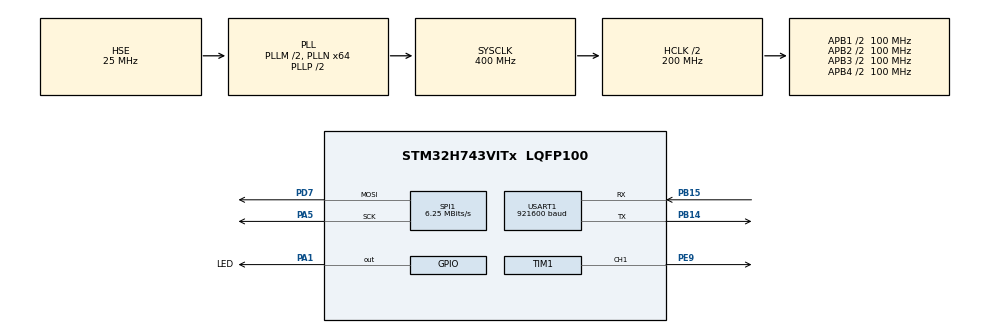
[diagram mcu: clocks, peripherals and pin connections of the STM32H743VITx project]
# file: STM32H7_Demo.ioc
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CORTEX_M7.CPU_DCache=Enabled
CORTEX_M7.CPU_ICache=Enabled
CORTEX_M7.default_mode_Activation=1
Dma.Request0=SPI1_TX
Dma.SPI1_TX.0.Direction=DMA_MEMORY_TO_PERIPH
Dma.SPI1_TX.0.EventEnable=DISABLE
Dma.SPI1_TX.0.FIFOMode=DMA_FIFOMODE_DISABLE
Dma.SPI1_TX.0.Instance=DMA1_Stream0
Dma.SPI1_TX.0.MemDataAlignment=DMA_MDATAALIGN_BYTE
Dma.SPI1_TX.0.MemInc=DMA_MINC_ENABLE
Dma.SPI1_TX.0.Mode=DMA_NORMAL
Dma.SPI1_TX.0.PeriphDataAlignment=DMA_PDATAALIGN_BYTE
Dma.SPI1_TX.0.PeriphInc=DMA_PINC_DISABLE
Dma.SPI1_TX.0.Polarity=HAL_DMAMUX_REQ_GEN_RISING
Dma.SPI1_TX.0.Priority=DMA_PRIORITY_LOW
Dma.SPI1_TX.0.RequestNumber=1
Dma.SPI1_TX.0.SignalID=NONE
Dma.SPI1_TX.0.SyncEnable=DISABLE
Dma.SPI1_TX.0.SyncPolarity=HAL_DMAMUX_SYNC_NO_EVENT
Dma.SPI1_TX.0.SyncRequestNumber=1
Dma.SPI1_TX.0.SyncSignalID=NONE
Mcu.Family=STM32H7
Mcu.Name=STM32H743VITx
Mcu.Package=LQFP100
NVIC.DMA1_Stream0_IRQn=true\:6\:0\:true\:false\:true\:false\:true\:true
NVIC.PriorityGroup=NVIC_PRIORITYGROUP_4
NVIC.SPI1_IRQn=true\:6\:0\:true\:false\:true\:true\:true\:true
NVIC.TIM6_DAC_IRQn=true\:15\:0\:true\:false\:true\:false\:true\:true
NVIC.TIM7_IRQn=true\:0\:0\:false\:false\:true\:true\:true\:true
NVIC.TimeBase=TIM6_DAC_IRQn
NVIC.TimeBaseIP=TIM6
PA1.GPIO_Label=LED
PA1.GPIO_PuPd=GPIO_PULLUP
PA1.GPIO_Speed=GPIO_SPEED_FREQ_VERY_HIGH
PA1.PinState=GPIO_PIN_SET
PA1.Signal=GPIO_Output
PA13\ (JTMS/SWDIO).Mode=Serial_Wire
PA13\ (JTMS/SWDIO).Signal=DEBUG_JTMS-SWDIO
PA14\ (JTCK/SWCLK).Mode=Serial_Wire
PA14\ (JTCK/SWCLK).Signal=DEBUG_JTCK-SWCLK
PA5.Mode=TX_Only_Simplex_Unidirect_Master
PA5.Signal=SPI1_SCK
PB14.Mode=Asynchronous
PB14.Signal=USART1_TX
PB15.Mode=Asynchronous
PB15.Signal=USART1_RX
PC14-OSC32_IN\ (OSC32_IN).Mode=LSE-External-Oscillator
PC14-OSC32_IN\ (OSC32_IN).Signal=RCC_OSC32_IN
PC15-OSC32_OUT\ (OSC32_OUT).Mode=LSE-External-Oscillator
PC15-OSC32_OUT\ (OSC32_OUT).Signal=RCC_OSC32_OUT
PD7.Mode=TX_Only_Simplex_Unidirect_Master
PD7.Signal=SPI1_MOSI
PE9.Signal=S_TIM1_CH1
PH0-OSC_IN\ (PH0).Mode=HSE-External-Oscillator
PH0-OSC_IN\ (PH0).Signal=RCC_OSC_IN
PH1-OSC_OUT\ (PH1).Mode=HSE-External-Oscillator
PH1-OSC_OUT\ (PH1).Signal=RCC_OSC_OUT
ProjectManager.HeapSize=0x400
ProjectManager.StackSize=0x400
ProjectManager.TargetToolchain=MDK-ARM V5.32
RCC.ADCFreq_Value=50390625
RCC.APB1Freq_Value=100000000
RCC.APB2Freq_Value=100000000
RCC.APB3Freq_Value=100000000
RCC.APB4Freq_Value=100000000
RCC.CortexFreq_Value=400000000
RCC.D1PPRE=RCC_APB3_DIV2
RCC.D2PPRE1=RCC_APB1_DIV2
RCC.D2PPRE2=RCC_APB2_DIV2
RCC.D3PPRE=RCC_APB4_DIV2
RCC.DIVM1=2
RCC.DIVN1=64
RCC.DIVQ1=4
RCC.HCLKFreq_Value=200000000
RCC.HPRE=RCC_HCLK_DIV2
RCC.PLLFRACN=0
RCC.PLLSourceVirtual=RCC_PLLSOURCE_HSE
RCC.SYSCLKFreq_VALUE=400000000
RCC.SYSCLKSource=RCC_SYSCLKSOURCE_PLLCLK
RCC.USBFreq_Value=200000000
SH.S_TIM1_CH1.0=TIM1_CH1,PWM Generation1 CH1
SPI1.BaudRatePrescaler=SPI_BAUDRATEPRESCALER_32
SPI1.CalculateBaudRate=6.25 MBits/s
SPI1.DataSize=SPI_DATASIZE_8BIT
SPI1.Direction=SPI_DIRECTION_2LINES_TXONLY
SPI1.Mode=SPI_MODE_MASTER
SPI1.NSSPMode=SPI_NSS_PULSE_ENABLE
SPI1.VirtualType=VM_MASTER
TIM1.AutoReloadPreload=TIM_AUTORELOAD_PRELOAD_ENABLE
TIM1.Channel-PWM\ Generation1\ CH1=TIM_CHANNEL_1
TIM1.Period=999
TIM1.Prescaler=199
TIM1.Pulse-PWM\ Generation1\ CH1=500
TIM7.AutoReloadPreload=TIM_AUTORELOAD_PRELOAD_ENABLE
TIM7.Period=500
TIM7.Prescaler=20-1
USART1.BaudRate=921600
USART1.VirtualMode-Asynchronous=VM_ASYNC
VP_MEMORYMAP_VS_MEMORYMAP.Mode=CurAppReg
VP_SYS_VS_tim6.Mode=TIM6
VP_TIM7_VS_ClockSourceINT.Mode=Enable_Timer
board=custom

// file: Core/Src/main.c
/* USER CODE BEGIN Header */
/**
 ******************************************************************************
 * @file           : main.c
 * @brief          : Main program body
 ******************************************************************************
 * @attention
 *
 * Copyright (c) 2026 STMicroelectronics.
 * All rights reserved.
 *
 * This software is licensed under terms that can be found in the LICENSE file
 * in the root directory of this software component.
 * If no LICENSE file comes with this software, it is provided AS-IS.
 *
 ******************************************************************************
 */
/* USER CODE END Header */
#include "main.h"
#include "dma.h"
#include "spi.h"
#include "tim.h"
#include "usart.h"
#include "gpio.h"

/* USER CODE BEGIN Includes */
#include <string.h>
#include <stdio.h>

#include "FreeRTOS.h"
#include "task.h"
#include "log.h"
#include "task_led.h"
#include "task_usart.h"
#include "task_pwm.h"

/* USER CODE END Includes */

void SystemClock_Config(void);
static void MPU_Config(void);

/* USER CODE BEGIN 0 */
int fputc(int ch, FILE *f)
{
  HAL_UART_Transmit(&huart1, (uint8_t *)&ch, 1, HAL_MAX_DELAY);
  return ch;
}

volatile uint32_t ulHighFrequencyTimerTicks = 0UL;

/* USER CODE END 0 */

int main(void)
{

  /* MPU Configuration--------------------------------------------------------*/
  MPU_Config();

  /* Enable the CPU Cache */

  /* Enable I-Cache---------------------------------------------------------*/
  SCB_EnableICache();

  /* Enable D-Cache---------------------------------------------------------*/
  SCB_EnableDCache();

  /* MCU Configuration--------------------------------------------------------*/

  /* Reset of all peripherals, Initializes the Flash interface and the Systick. */
  HAL_Init();

  /* Configure the system clock */
  SystemClock_Config();

  /* Initialize all configured peripherals */
  MX_GPIO_Init();
  MX_DMA_Init();
  MX_USART1_UART_Init();
  MX_TIM7_Init();
  MX_TIM1_Init();
  MX_SPI1_Init();
  /* USER CODE BEGIN 2 */

  HAL_TIM_Base_Start_IT(&htim7);
  HAL_TIM_PWM_Start(&htim1, TIM_CHANNEL_1);

  log_init();

  LOG_I("========== System Started ==========");
  LOG_I("H7 Core Clock: %lu Hz", HAL_RCC_GetSysClockFreq());
  LOG_I("Log System Initialized");

  /* === Log Level Tests === */
  LOG_D("This is a DEBUG message");
  LOG_I("This is an INFO message");
  LOG_W("This is a WARNING message");
  LOG_E("This is an ERROR message");
  LOG_F("This is a FATAL message");

  /* === Format String Tests === */
  LOG_I("String: %s", "Hello FreeRTOS");
  LOG_I("Integer: %d, Hex: 0x%02X, Unsigned: %u", -42, 0xFF, 12345);
  LOG_I("Pointer: %p", (void*)0x20000000);
  LOG_I("Multiple args: %d %s %c %d", 1, "two", '3', 4);

  /* === Edge Case Tests === */
  LOG_I("Empty string: '%s'", "");
  LOG_I("Very long number: %lu", 0xFFFFFFFFUL);
  LOG_I("Negative hex: -1 -> 0x%08X", (unsigned int)-1);

  /* === Hexdump Tests === */
  uint8_t test_data[] = {0xDE, 0xAD, 0xBE, 0xEF};
  LOG_I("Hexdump test (small):");
  log_hexdump("TestData", test_data, sizeof(test_data));

  /* Hexdump with 16+ bytes to test line wrapping */
  uint8_t large_data[32];
  for (int i = 0; i < 32; i++) large_data[i] = i;
  LOG_I("Hexdump test (large, 32 bytes):");
  log_hexdump("LargeData", large_data, sizeof(large_data));

  /* === Multi-line Long String Test === */
  LOG_I("--- Long string test start ---");
  LOG_I("1234567890123456789012345678901234567890123456789012345678901234567890123456789012345678901234567890123456");
  LOG_I("--- Long string test end ---");

  Task_Led_Init();
  Task_Usart_Init();
//  Task_Pwm_Init();

  vTaskStartScheduler();

  /* USER CODE END 2 */

  /* Infinite loop */
  while (1)
  {

  }
}

void SystemClock_Config(void)
{
  RCC_OscInitTypeDef RCC_OscInitStruct = {0};
  RCC_ClkInitTypeDef RCC_ClkInitStruct = {0};

  /** Supply configuration update enable
  */
  HAL_PWREx_ConfigSupply(PWR_LDO_SUPPLY);

  /** Configure the main internal regulator output voltage
  */
  __HAL_PWR_VOLTAGESCALING_CONFIG(PWR_REGULATOR_VOLTAGE_SCALE1);

  while(!__HAL_PWR_GET_FLAG(PWR_FLAG_VOSRDY)) {}

  /** Initializes the RCC Oscillators according to the specified parameters
  * in the RCC_OscInitTypeDef structure.
  */
  RCC_OscInitStruct.OscillatorType = RCC_OSCILLATORTYPE_HSE;
  RCC_OscInitStruct.HSEState = RCC_HSE_ON;
  RCC_OscInitStruct.PLL.PLLState = RCC_PLL_ON;
  RCC_OscInitStruct.PLL.PLLSource = RCC_PLLSOURCE_HSE;
  RCC_OscInitStruct.PLL.PLLM = 2;
  RCC_OscInitStruct.PLL.PLLN = 64;
  RCC_OscInitStruct.PLL.PLLP = 2;
  RCC_OscInitStruct.PLL.PLLQ = 4;
  RCC_OscInitStruct.PLL.PLLR = 2;
  RCC_OscInitStruct.PLL.PLLRGE = RCC_PLL1VCIRANGE_3;
  RCC_OscInitStruct.PLL.PLLVCOSEL = RCC_PLL1VCOWIDE;
  RCC_OscInitStruct.PLL.PLLFRACN = 0;
  if (HAL_RCC_OscConfig(&RCC_OscInitStruct) != HAL_OK)
  {
    Error_Handler();
  }

  /** Initializes the CPU, AHB and APB buses clocks
  */
  RCC_ClkInitStruct.ClockType = RCC_CLOCKTYPE_HCLK|RCC_CLOCKTYPE_SYSCLK
                              |RCC_CLOCKTYPE_PCLK1|RCC_CLOCKTYPE_PCLK2
                              |RCC_CLOCKTYPE_D3PCLK1|RCC_CLOCKTYPE_D1PCLK1;
  RCC_ClkInitStruct.SYSCLKSource = RCC_SYSCLKSOURCE_PLLCLK;
  RCC_ClkInitStruct.SYSCLKDivider = RCC_SYSCLK_DIV1;
  RCC_ClkInitStruct.AHBCLKDivider = RCC_HCLK_DIV2;
  RCC_ClkInitStruct.APB3CLKDivider = RCC_APB3_DIV2;
  RCC_ClkInitStruct.APB1CLKDivider = RCC_APB1_DIV2;
  RCC_ClkInitStruct.APB2CLKDivider = RCC_APB2_DIV2;
  RCC_ClkInitStruct.APB4CLKDivider = RCC_APB4_DIV2;

  if (HAL_RCC_ClockConfig(&RCC_ClkInitStruct, FLASH_LATENCY_2) != HAL_OK)
  {
    Error_Handler();
  }
}

 /* MPU Configuration */

void MPU_Config(void)
{
  MPU_Region_InitTypeDef MPU_InitStruct = {0};

  /* Disables the MPU */
  HAL_MPU_Disable();

  /** Initializes and configures the Region and the memory to be protected
  */
  MPU_InitStruct.Enable = MPU_REGION_ENABLE;
  MPU_InitStruct.Number = MPU_REGION_NUMBER0;
  MPU_InitStruct.BaseAddress = 0x0;
  MPU_InitStruct.Size = MPU_REGION_SIZE_4GB;
  MPU_InitStruct.SubRegionDisable = 0x87;
  MPU_InitStruct.TypeExtField = MPU_TEX_LEVEL0;
  MPU_InitStruct.AccessPermission = MPU_REGION_NO_ACCESS;
  MPU_InitStruct.DisableExec = MPU_INSTRUCTION_ACCESS_DISABLE;
  MPU_InitStruct.IsShareable = MPU_ACCESS_SHAREABLE;
  MPU_InitStruct.IsCacheable = MPU_ACCESS_NOT_CACHEABLE;
  MPU_InitStruct.IsBufferable = MPU_ACCESS_NOT_BUFFERABLE;

  HAL_MPU_ConfigRegion(&MPU_InitStruct);
  /* Enables the MPU */
  HAL_MPU_Enable(MPU_PRIVILEGED_DEFAULT);

}

void HAL_TIM_PeriodElapsedCallback(TIM_HandleTypeDef *htim)
{
  if (htim->Instance == TIM6)
  {
    HAL_IncTick();
  }
  /* USER CODE BEGIN Callback 1 */

  if (htim->Instance == TIM7)
  {
    ulHighFrequencyTimerTicks++;
  }

  /* USER CODE END Callback 1 */
}

void Error_Handler(void)
{
  __disable_irq();
  while (1)
  {
  }
}
